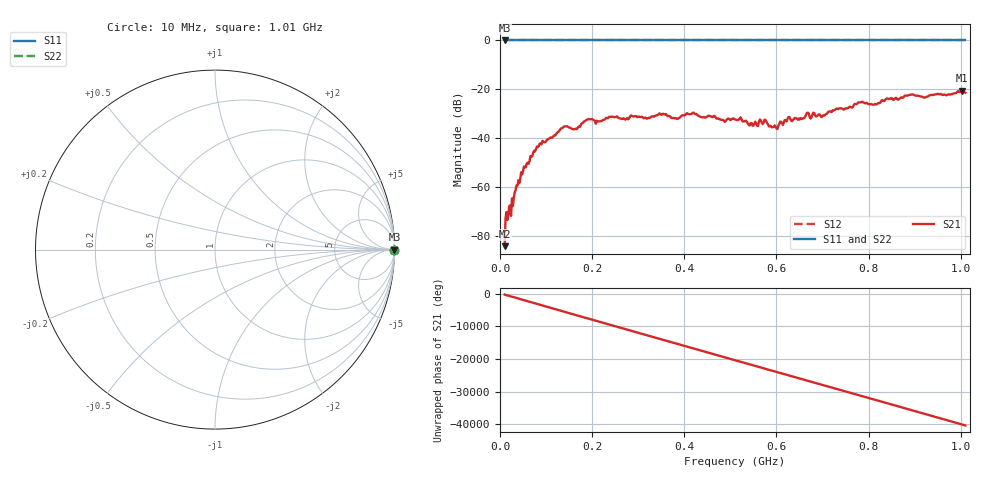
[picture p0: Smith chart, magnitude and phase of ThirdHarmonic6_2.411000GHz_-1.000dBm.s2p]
! 8/17/2025 4:02:50 AM
! C:\ANRITSUVNA\TEMP\TEMP.S2P
! CHANNEL.1
! TR.MEASUREMENT
! RAW.DATA
! RF.CORRECTION.OFF
! AVERAGING.OFF
! IF.BANDWIDTH: 5KHZ
! SWEEPTYPE:  FREQ.SWEEP(Linear)
! Reference Plane Port Info
! PORT:  PORT1  PORT2
! DISTANCE:  0  m  0  m
! TIME:  0  s  0  s
! PHASE.OFFSET:  0  deg.  0  deg.
! LOSS:  0  dB  0  dB
! REF.LOSS:  0  dB  0  dB
! REF.FREQ:  0  Hz  0  Hz
! Power Info
! POWER:  -20  dBm  -20  dBm
! EFF.POWER:  -20  dBm  -20  dBm
! SOURCE.ATTEN:  0  dB  0  dB
! TEST.ATTEN:  0  dB  0  dB
# GHZ S RI R 50.0
! FREQ.GHZ  S11RE  S11IM  S21RE  S21IM  S12RE  S12IM  S22RE  S22IM
!; PortSelection: Port_12
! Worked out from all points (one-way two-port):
!   501 points, 10 MHz to 1.01 GHz, reference 50 ohm
!   highest |S21| = -20.58 dB at 1.002 GHz (marker M1); lowest = -84.3 dB at 10 MHz (marker M2)
!   lowest |S11| = 0.0 dB at 10 MHz (marker M3)
!   |S11| at or under -10 dB: nowhere
!   |S22| runs from 0.0 to 0.0 dB; largest |S21 - S12| = 1.1
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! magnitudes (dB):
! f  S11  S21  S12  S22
! 10 MHz  0.0  -84.3  0.0  0.0
! 16 MHz  0.0  -73.6  0.0  0.0
! 28 MHz  0.0  -67.9  0.0  0.0
! 36 MHz  0.0  -59.4  0.0  0.0
! 50 MHz  0.0  -53.5  0.0  0.0
! 76 MHz  0.0  -45.5  0.0  0.0
! 136 MHz  0.0  -35.8  0.0  0.0
! 162 MHz  0.0  -36.4  0.0  0.0
! 178 MHz  0.0  -34.0  0.0  0.0
! 192 MHz  0.0  -32.2  0.0  0.0
! 344 MHz  0.0  -30.4  0.0  0.0
! 384 MHz  0.0  -32.2  0.0  0.0
! 422 MHz  0.0  -30.0  0.0  0.0
! 510 MHz  0.0  -32.4  0.0  0.0
! 546 MHz  0.0  -33.8  0.0  0.0
! 576 MHz  0.0  -32.6  0.0  0.0
! 598 MHz  0.0  -35.2  0.0  0.0
! 624 MHz  0.0  -32.1  0.0  0.0
! 678 MHz  0.0  -30.4  0.0  0.0
! 844 MHz  0.0  -24.0  0.0  0.0
! 1.002 GHz  0.0  -20.6  0.0  0.0
! 1.01 GHz  0.0  -21.4  0.0  0.0
